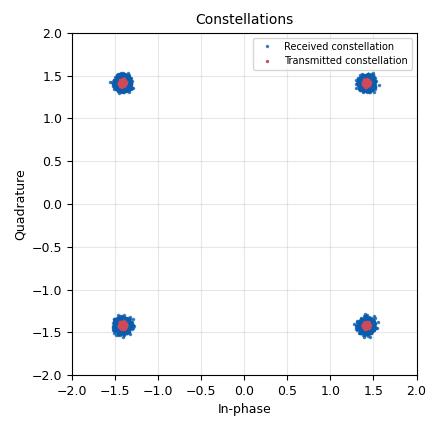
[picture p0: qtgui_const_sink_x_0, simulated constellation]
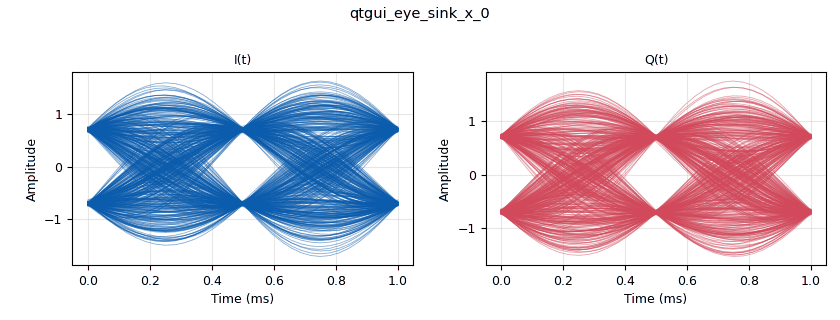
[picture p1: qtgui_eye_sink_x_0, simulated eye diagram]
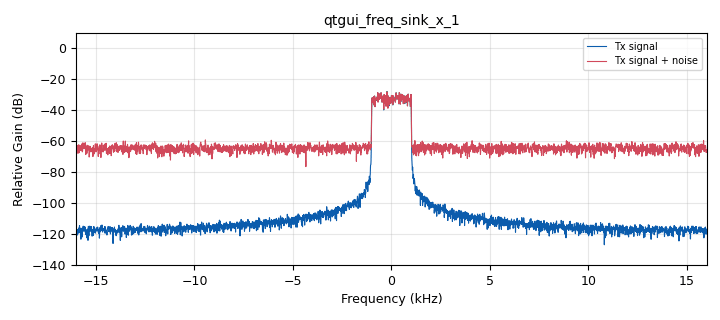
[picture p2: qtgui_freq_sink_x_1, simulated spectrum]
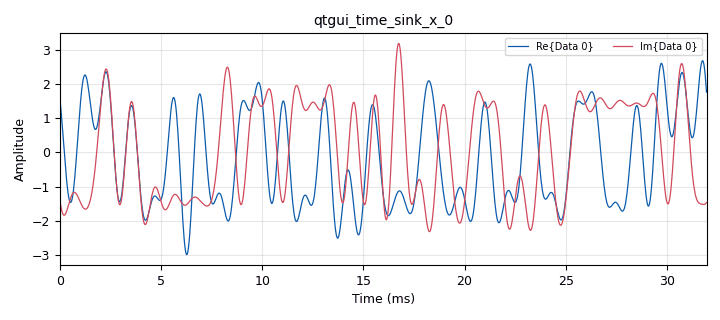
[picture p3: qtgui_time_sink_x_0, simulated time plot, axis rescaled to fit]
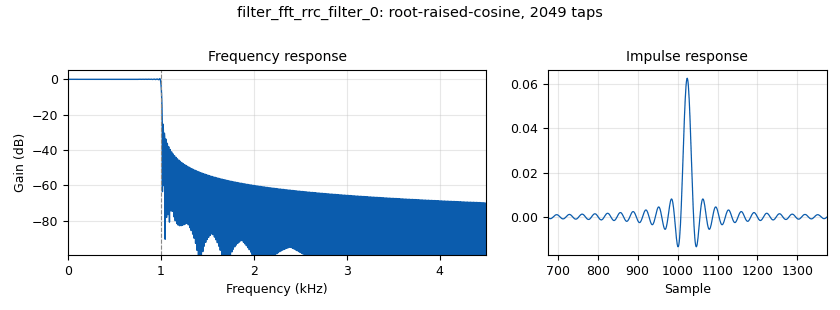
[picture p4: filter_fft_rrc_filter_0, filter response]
options:
  parameters:
    author: Edson P. da Silva
    generate_options: qt_gui
    id: simBasicTxRx
    output_language: python
    title: Basic Tx-Rx system
  states: {}

blocks:
- name: Constellation
  id: variable_constellation
  parameters:
    precision: '8'
    type: qpsk
  states: {}
- name: SamplesPerSymbol
  id: variable
  parameters:
    value: '16'
  states: {}
- name: noiseStd
  id: variable_qtgui_range
  parameters:
    label: Noise std
    start: '0'
    step: '0.01'
    stop: '1.5'
    value: '0.1'
  states: {}
- name: rolloff
  id: variable
  parameters:
    value: '0.01'
  states: {}
- name: samp_rate
  id: variable
  parameters:
    value: '32000'
  states: {}
- name: analog_noise_source_x_0
  id: analog_noise_source_x
  parameters:
    amp: noiseStd
    noise_type: analog.GR_GAUSSIAN
    seed: '0'
    type: complex
  states: {}
- name: analog_random_source_x_0
  id: analog_random_source_x
  parameters:
    max: '256'
    min: '0'
    num_samps: '40000'
    repeat: 'True'
    type: byte
  states: {}
- name: blocks_add_xx_0
  id: blocks_add_xx
  parameters:
    type: complex
  states: {}
- name: blocks_char_to_float_0
  id: blocks_char_to_float
  parameters:
    scale: '1'
  states: {}
- name: blocks_complex_to_mag_squared_0
  id: blocks_complex_to_mag_squared
  parameters: {}
  states: {}
- name: blocks_complex_to_mag_squared_0_0
  id: blocks_complex_to_mag_squared
  parameters: {}
  states: {}
- name: blocks_divide_xx_0
  id: blocks_divide_xx
  parameters:
    type: complex
  states: {}
- name: blocks_float_to_complex_0
  id: blocks_float_to_complex
  parameters: {}
  states: {}
- name: blocks_moving_average_xx_0_1
  id: blocks_moving_average_xx
  parameters:
    length: '100000'
    max_iter: '50000'
    scale: 1/(8*100000)
    type: float
  states: {}
- name: blocks_moving_average_xx_0_1_0
  id: blocks_moving_average_xx
  parameters:
    length: '100000'
    max_iter: '50000'
    scale: 1/100000
    type: float
  states: {}
- name: blocks_moving_average_xx_0_1_0_0
  id: blocks_moving_average_xx
  parameters:
    length: '10000'
    max_iter: '50000'
    scale: 1/10000
    type: float
  states: {}
- name: blocks_multiply_xx_0
  id: blocks_multiply_xx
  parameters:
    type: complex
  states: {}
- name: blocks_nlog10_ff_0
  id: blocks_nlog10_ff
  parameters:
    k: '0'
    n: '-10'
  states: {}
- name: blocks_nlog10_ff_0_0
  id: blocks_nlog10_ff
  parameters:
    k: '-10*numpy.log10(numpy.log2(Constellation.arity()))'
    n: '-10'
  states: {}
- name: blocks_sub_xx_0
  id: blocks_sub_xx
  parameters:
    type: complex
  states: {}
- name: blocks_transcendental_0
  id: blocks_transcendental
  parameters:
    name: tanh
    type: float
  states: {}
- name: blocks_transcendental_0_0
  id: blocks_transcendental
  parameters:
    name: sqrt
    type: float
  states: {}
- name: blocks_xor_xx_0
  id: blocks_xor_xx
  parameters:
    type: byte
  states: {}
- name: digital_constellation_decoder_cb_0
  id: digital_constellation_decoder_cb
  parameters:
    constellation: Constellation
  states: {}
- name: digital_constellation_decoder_cb_0_0
  id: digital_constellation_decoder_cb
  parameters:
    constellation: Constellation
  states: {}
- name: digital_constellation_modulator_0
  id: digital_constellation_modulator
  parameters:
    constellation: Constellation
    differential: 'False'
    excess_bw: rolloff
    samples_per_symbol: SamplesPerSymbol
  states: {}
- name: filter_fft_rrc_filter_0
  id: filter_fft_rrc_filter
  parameters:
    alias: Matched Filter
    alpha: rolloff
    decim: SamplesPerSymbol
    gain: '1'
    ntaps: '2048'
    samp_rate: samp_rate
    sym_rate: samp_rate//SamplesPerSymbol
    type: ccc
  states: {}
- name: filter_fft_rrc_filter_0_0
  id: filter_fft_rrc_filter
  parameters:
    alpha: rolloff
    decim: '1'
    gain: '1'
    ntaps: '2048'
    samp_rate: samp_rate
    sym_rate: samp_rate//SamplesPerSymbol
    type: ccc
  states: {}
- name: filter_fft_rrc_filter_0_0_0
  id: filter_fft_rrc_filter
  parameters:
    alpha: rolloff
    decim: SamplesPerSymbol
    gain: '1'
    ntaps: '2048'
    samp_rate: samp_rate
    sym_rate: samp_rate//SamplesPerSymbol
    type: ccc
  states: {}
- name: qtgui_const_sink_x_0
  id: qtgui_const_sink_x
  parameters:
    color1: '"black"'
    grid: 'True'
    gui_hint: 2,3,2,3
    label1: Received constellation
    label2: Transmitted constellation
    name: Constellations
    nconnections: '2'
    size: 1024*8
    type: complex
  states: {}
- name: qtgui_eye_sink_x_0
  id: qtgui_eye_sink_x
  parameters:
    autoscale: 'True'
    entags: 'False'
    grid: 'True'
    gui_hint: 0,3,2,3
    label1: I(t)
    label2: Q(t)
    samp_per_symbol: SamplesPerSymbol
    size: 1024*16
    srate: samp_rate
    style1: '3'
    type: complex
    ymax: '2'
    ymin: '-2'
  states: {}
- name: qtgui_freq_sink_x_1
  id: qtgui_freq_sink_x
  parameters:
    average: '0.2'
    bw: samp_rate
    color2: '"black"'
    fc: '0'
    fftsize: '4096'
    grid: 'True'
    gui_hint: 0,0,2,3
    label1: Tx signal
    label2: Tx signal + noise
    nconnections: '2'
    type: complex
    width1: '2'
    width2: '2'
  states: {}
- name: qtgui_number_sink_1
  id: qtgui_number_sink
  parameters:
    graph_type: qtgui.NUM_GRAPH_NONE
    label1: BER
    max: '0.5'
    min: '0'
    name: Taxa de erro de bit [Bit error rate (BER)]
    type: float
  states: {}
- name: qtgui_number_sink_1_0
  id: qtgui_number_sink
  parameters:
    graph_type: qtgui.NUM_GRAPH_NONE
    label1: SNR
    label2: EbN0
    max: '50'
    min: '-20'
    name: SNR
    nconnections: '2'
    type: float
  states: {}
- name: qtgui_time_sink_x_0
  id: qtgui_time_sink_x
  parameters:
    entags: 'False'
    grid: 'True'
    gui_hint: 2,0,1,3
    size: '1024'
    srate: samp_rate
    type: complex
    ymax: '2'
    ymin: '-2'
  states: {}

connections:
- [analog_noise_source_x_0, '0', blocks_add_xx_0, '1']
- [analog_random_source_x_0, '0', digital_constellation_modulator_0, '0']
- [blocks_add_xx_0, '0', blocks_multiply_xx_0, '1']
- [blocks_add_xx_0, '0', filter_fft_rrc_filter_0_0, '0']
- [blocks_add_xx_0, '0', qtgui_freq_sink_x_1, '1']
- [blocks_char_to_float_0, '0', blocks_transcendental_0, '0']
- [blocks_complex_to_mag_squared_0, '0', blocks_moving_average_xx_0_1_0, '0']
- [blocks_complex_to_mag_squared_0_0, '0', blocks_moving_average_xx_0_1_0_0, '0']
- [blocks_divide_xx_0, '0', blocks_add_xx_0, '0']
- [blocks_divide_xx_0, '0', qtgui_freq_sink_x_1, '0']
- [blocks_float_to_complex_0, '0', blocks_divide_xx_0, '1']
- [blocks_float_to_complex_0, '0', blocks_multiply_xx_0, '0']
- [blocks_moving_average_xx_0_1, '0', qtgui_number_sink_1, '0']
- [blocks_moving_average_xx_0_1_0, '0', blocks_transcendental_0_0, '0']
- [blocks_moving_average_xx_0_1_0_0, '0', blocks_nlog10_ff_0, '0']
- [blocks_moving_average_xx_0_1_0_0, '0', blocks_nlog10_ff_0_0, '0']
- [blocks_multiply_xx_0, '0', filter_fft_rrc_filter_0, '0']
- [blocks_nlog10_ff_0, '0', qtgui_number_sink_1_0, '0']
- [blocks_nlog10_ff_0_0, '0', qtgui_number_sink_1_0, '1']
- [blocks_sub_xx_0, '0', blocks_complex_to_mag_squared_0_0, '0']
- [blocks_transcendental_0, '0', blocks_moving_average_xx_0_1, '0']
- [blocks_transcendental_0_0, '0', blocks_float_to_complex_0, '0']
- [blocks_xor_xx_0, '0', blocks_char_to_float_0, '0']
- [digital_constellation_decoder_cb_0, '0', blocks_xor_xx_0, '0']
- [digital_constellation_decoder_cb_0_0, '0', blocks_xor_xx_0, '1']
- [digital_constellation_modulator_0, '0', blocks_complex_to_mag_squared_0, '0']
- [digital_constellation_modulator_0, '0', blocks_divide_xx_0, '0']
- [digital_constellation_modulator_0, '0', filter_fft_rrc_filter_0_0_0, '0']
- [digital_constellation_modulator_0, '0', qtgui_time_sink_x_0, '0']
- [filter_fft_rrc_filter_0, '0', blocks_sub_xx_0, '1']
- [filter_fft_rrc_filter_0, '0', digital_constellation_decoder_cb_0, '0']
- [filter_fft_rrc_filter_0, '0', qtgui_const_sink_x_0, '0']
- [filter_fft_rrc_filter_0_0, '0', qtgui_eye_sink_x_0, '0']
- [filter_fft_rrc_filter_0_0_0, '0', blocks_sub_xx_0, '0']
- [filter_fft_rrc_filter_0_0_0, '0', digital_constellation_decoder_cb_0_0, '0']
- [filter_fft_rrc_filter_0_0_0, '0', qtgui_const_sink_x_0, '1']

metadata:
  file_format: 1
  grc_version: 3.10.7.0
